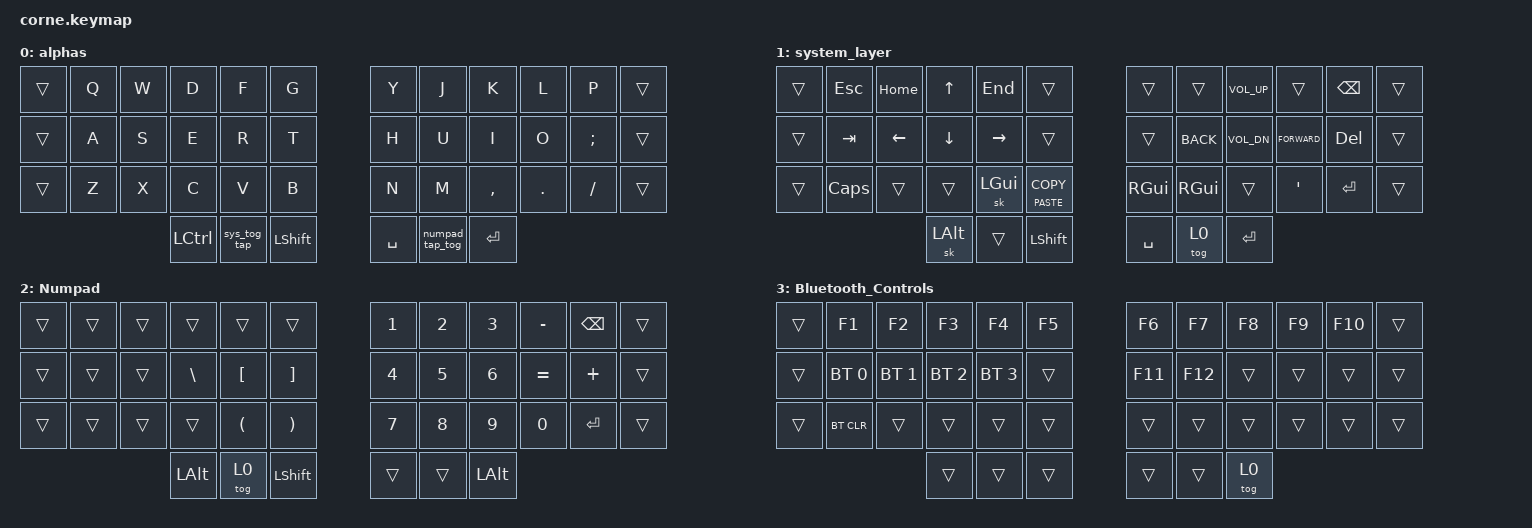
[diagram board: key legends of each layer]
/*
 * Copyright (c) 2020 The ZMK Contributors
 *
 * SPDX-License-Identifier: MIT
 */

#include <behaviors.dtsi>
#include <dt-bindings/zmk/bt.h>
#include <dt-bindings/zmk/keys.h>

/ {
    combos {
        compatible = "zmk,combos";

        bluetooth_tog {
            bindings = <&tog 3>;
            key-positions = <37 40>;
        };
    };

    behaviors {
        numpad_tap_tog: numpad_tap_tog {
            compatible = "zmk,behavior-tap-dance";
            label = "NUMPAD_TAP_TOG";
            #binding-cells = <0>;
            bindings = <&mo 2>, <&tog 2>;
        };

        sys_tog_tap: sys_tog_tap {
            compatible = "zmk,behavior-tap-dance";
            label = "SYS_TOG_TAP";
            #binding-cells = <0>;
            bindings = <&mo 1>, <&tog 1>;
        };
    };

    keymap {
        compatible = "zmk,keymap";

        alphas {
            // -----------------------------------------------------------------------------------------
            // |  TAB |  Q  |  W  |  E  |  R  |  T  |   |  Y  |  U   |  I  |  O  |  P  | BKSP |
            // | CTRL |  A  |  S  |  D  |  F  |  G  |   |  H  |  J   |  K  |  L  |  ;  |  '   |
            // | SHFT |  Z  |  X  |  C  |  V  |  B  |   |  N  |  M   |  ,  |  .  |  /  | ESC  |
            //                    | GUI | LWR | SPC |   | ENT | RSE  | ALT |

            bindings = <
&trans  &kp Q  &kp W  &kp D             &kp F         &kp G             &kp Y      &kp J            &kp K      &kp L    &kp P     &trans
&trans  &kp A  &kp S  &kp E             &kp R         &kp T             &kp H      &kp U            &kp I      &kp O    &kp SEMI  &trans
&trans  &kp Z  &kp X  &kp C             &kp V         &kp B             &kp N      &kp M            &kp COMMA  &kp DOT  &kp FSLH  &trans
                      &kp LEFT_CONTROL  &sys_tog_tap  &kp LEFT_SHIFT    &kp SPACE  &numpad_tap_tog  &kp ENTER
            >;

            label = "alphas";
        };

        system_layer {
            // -----------------------------------------------------------------------------------------
            // |  TAB |  1  |  2  |  3  |  4  |  5  |   |  6  |  7  |  8  |  9  |  0  | BKSP |
            // | BTCLR| BT1 | BT2 | BT3 | BT4 | BT5 |   | LFT | DWN |  UP | RGT |     |      |
            // | SHFT |     |     |     |     |     |   |     |     |     |     |     |      |
            //                    | GUI |     | SPC |   | ENT |     | ALT |

            bindings = <
&trans  &kp ESCAPE    &kp HOME  &kp UP_ARROW  &kp END       &trans                &trans         &trans         &kp C_VOLUME_UP  &trans         &kp BACKSPACE  &trans
&trans  &kp TAB       &kp LEFT  &kp DOWN      &kp RIGHT     &trans                &trans         &kp K_BACK     &kp C_VOL_DN     &kp K_FORWARD  &kp DELETE     &trans
&trans  &kp CAPSLOCK  &trans    &trans        &sk LEFT_GUI  &mt K_PASTE K_COPY    &kp RIGHT_GUI  &kp RIGHT_GUI  &trans           &kp APOS       &kp ENTER      &trans
                                &sk LEFT_ALT  &trans        &kp LEFT_SHIFT        &kp SPACE      &tog 0         &kp ENTER
            >;
        };

        Numpad {
            bindings = <
&trans  &trans  &trans  &trans         &trans                &trans                   &kp NUMBER_1  &kp NUMBER_2  &kp NUMBER_3  &kp MINUS     &kp BACKSPACE  &trans
&trans  &trans  &trans  &kp BACKSLASH  &kp LEFT_BRACKET      &kp RIGHT_BRACKET        &kp NUMBER_4  &kp N5        &kp NUMBER_6  &kp EQUAL     &kp PLUS       &trans
&trans  &trans  &trans  &trans         &kp LEFT_PARENTHESIS  &kp RIGHT_PARENTHESIS    &kp N7        &kp NUMBER_8  &kp N9        &kp NUMBER_0  &kp ENTER      &trans
                        &kp LEFT_ALT   &tog 0                &kp LEFT_SHIFT           &trans        &trans        &kp LEFT_ALT
            >;

            label = "Numpad";
        };

        bluetooth_layer {
            bindings = <
&trans  &kp F1        &kp F2        &kp F3        &kp F4        &kp F5    &kp F6   &kp F7   &kp F8  &kp F9  &kp F10  &trans
&trans  &bt BT_SEL 0  &bt BT_SEL 1  &bt BT_SEL 2  &bt BT_SEL 3  &trans    &kp F11  &kp F12  &trans  &trans  &trans   &trans
&trans  &bt BT_CLR    &trans        &trans        &trans        &trans    &trans   &trans   &trans  &trans  &trans   &trans
                                    &trans        &trans        &trans    &trans   &trans   &tog 0
            >;

            label = "Bluetooth_Controls";
        };
    };

    conditional_layers {
        compatible = "zmk,conditional-layers";
    };
};
